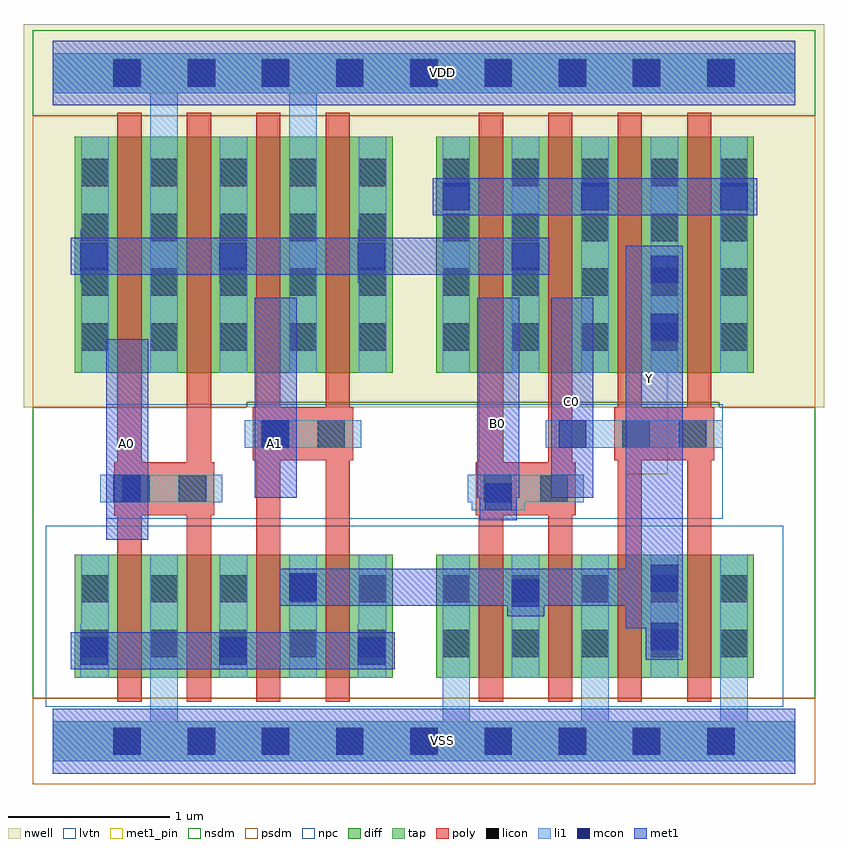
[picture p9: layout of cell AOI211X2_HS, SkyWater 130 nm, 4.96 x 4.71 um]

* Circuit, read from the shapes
.subckt AOI211X2_HS A0 A1 B0 C0 VDD VSS Y
XM1 VSS A0 n1 VSS sky130_fd_pr__nfet_01v8_lvt w=0.76 l=0.15 m=2
XM2 Y A1 n1 VSS sky130_fd_pr__nfet_01v8_lvt w=0.76 l=0.15 m=2
XM3 Y B0 VSS VSS sky130_fd_pr__nfet_01v8_lvt w=0.76 l=0.15 m=2
XM4 Y C0 VSS VSS sky130_fd_pr__nfet_01v8_lvt w=0.76 l=0.15 m=2
XM5 VDD A0 n2 VDD sky130_fd_pr__pfet_01v8 w=1.46 l=0.15 m=2
XM6 VDD A1 n2 VDD sky130_fd_pr__pfet_01v8 w=1.46 l=0.15 m=2
XM7 n2 B0 n3 VDD sky130_fd_pr__pfet_01v8 w=1.46 l=0.15 m=2
XM8 Y C0 n3 VDD sky130_fd_pr__pfet_01v8 w=1.46 l=0.15 m=2
.ends

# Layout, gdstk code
from math import pi, radians
import gdstk
lib = gdstk.Library(unit=1e-6, precision=1e-09)
def R(c, l, rs):  # rectangles x0, y0, x1, y1
    for r in rs: c.add(gdstk.rectangle(r[:2], r[2:], *l))
def A(c, l, x, y, w, h, nx, ny, dx, dy):  # array of equal rectangles
    R(c, l, [(x+i*dx, y+j*dy, x+i*dx+w, y+j*dy+h) for i in range(nx) for j in range(ny)])
def P(c, l, *ps):  # polygons
    for p in ps: c.add(gdstk.Polygon(p, *l))
nwell = (64, 20)
diff = (65, 20)
tap = (65, 44)
poly = (66, 20)
licon = (66, 44)
li1 = (67, 20)
mcon = (67, 44)
met1_pin = (68, 16)
met1 = (68, 20)
nsdm = (93, 44)
psdm = (94, 20)
npc = (95, 20)
lvtn = (125, 44)

pyl1con_c_cdns_750721774 = lib.new_cell('PYL1CON_C_CDNS_750721774073')
R(pyl1con_c_cdns_750721774, poly, [(-0.135,-0.165,0.135,0.165)])
R(pyl1con_c_cdns_750721774, licon, [(-0.085,-0.085,0.085,0.085)])
R(pyl1con_c_cdns_750721774, npc, [(-0.185,-0.185,0.185,0.185)])

l1m1_c_cdns_750721774074 = lib.new_cell('L1M1_C_CDNS_750721774074')
R(l1m1_c_cdns_750721774074, li1, [(-0.165,-0.085,0.165,0.085)])
R(l1m1_c_cdns_750721774074, mcon, [(-0.085,-0.085,0.085,0.085)])
R(l1m1_c_cdns_750721774074, met1, [(-0.115,-0.145,0.115,0.145)])

l1m1_c_cdns_750721774071 = lib.new_cell('L1M1_C_CDNS_7507217740715')
R(l1m1_c_cdns_750721774071, li1, [(-0.085,-0.085,0.085,0.085)])
R(l1m1_c_cdns_750721774071, mcon, [(-0.085,-0.085,0.085,0.085)])
R(l1m1_c_cdns_750721774071, met1, [(-0.115,-0.145,0.115,0.145)])

c_l1m1_c_cdns_750721774071 = lib.new_cell('L1M1_C_CDNS_7507217740713')
R(c_l1m1_c_cdns_750721774071, li1, [(-0.085,-0.165,0.085,0.165)])
R(c_l1m1_c_cdns_750721774071, mcon, [(-0.085,-0.085,0.085,0.085)])
R(c_l1m1_c_cdns_750721774071, met1, [(-0.145,-0.115,0.145,0.115)])

c_l1m1_c_cdns_750721774071_ = lib.new_cell('L1M1_C_CDNS_7507217740716')
R(c_l1m1_c_cdns_750721774071_, li1, [(-0.085,-0.265,0.085,0.265)])
R(c_l1m1_c_cdns_750721774071_, mcon, [(-0.085,-0.265,0.085,-0.095), (-0.085,0.095,0.085,0.265)])
R(c_l1m1_c_cdns_750721774071_, met1, [(-0.115,-0.325,0.115,0.325)])

aoi211x2_hs = lib.new_cell('AOI211X2_HS')
R(aoi211x2_hs, nwell, [(-0.18,2.07,4.78,4.445), (-0.045,2.105,1.385,3.925), (1.025,2.105,2.285,3.925), (2.195,2.105,3.625,3.925), (3.265,2.105,4.525,3.925), (-0.18,3.875,4.78,4.445)])
A(aoi211x2_hs, diff, 0.4, 0.395, 0.15, 0.76, 4, 1, 0.43, 0)
A(aoi211x2_hs, diff, 2.64, 0.395, 0.15, 0.76, 4, 1, 0.43, 0)
A(aoi211x2_hs, diff, 0.4, 2.285, 0.15, 1.46, 4, 1, 0.43, 0)
A(aoi211x2_hs, diff, 2.64, 2.285, 0.15, 1.46, 4, 1, 0.43, 0)
R(aoi211x2_hs, diff, [(0.135,0.395,0.4,1.155), (0.55,0.395,0.83,1.155), (0.98,0.395,1.205,1.155), (1.205,0.395,1.26,1.155), (1.41,0.395,1.69,1.155), (1.84,0.395,2.105,1.155), (2.375,0.395,2.64,1.155), (2.79,0.395,3.07,1.155), (3.22,0.395,3.445,1.155), (3.445,0.395,3.5,1.155), (3.65,0.395,3.93,1.155), (4.08,0.395,4.345,1.155), (0.135,2.285,0.4,3.745), (0.55,2.285,0.83,3.745), (0.98,2.285,1.205,3.745), (1.205,2.285,1.26,3.745), (1.41,2.285,1.69,3.745), (1.84,2.285,2.105,3.745), (2.375,2.285,2.64,3.745), (2.79,2.285,3.07,3.745), (3.22,2.285,3.445,3.745), (3.445,2.285,3.5,3.745), (3.65,2.285,3.93,3.745), (4.08,2.285,4.345,3.745)])
A(aoi211x2_hs, poly, 0.4, 0.245, 0.15, 0.055, 4, 2, 0.43, 1.005)
A(aoi211x2_hs, poly, 2.64, 0.245, 0.15, 0.055, 4, 2, 0.43, 1.005)
A(aoi211x2_hs, poly, 0.4, 0.3, 0.15, 0.095, 4, 2, 0.43, 0.855)
A(aoi211x2_hs, poly, 2.64, 0.3, 0.15, 0.095, 4, 2, 0.43, 0.855)
A(aoi211x2_hs, poly, 0.4, 0.395, 0.15, 0.76, 4, 1, 0.43, 0)
A(aoi211x2_hs, poly, 2.64, 0.395, 0.15, 0.76, 4, 1, 0.43, 0)
A(aoi211x2_hs, poly, 0.4, 2.135, 0.15, 0.055, 4, 2, 0.43, 1.705)
A(aoi211x2_hs, poly, 2.64, 2.135, 0.15, 0.055, 4, 2, 0.43, 1.705)
A(aoi211x2_hs, poly, 0.4, 2.19, 0.15, 0.095, 4, 2, 0.43, 1.555)
A(aoi211x2_hs, poly, 2.64, 2.19, 0.15, 0.095, 4, 2, 0.43, 1.555)
A(aoi211x2_hs, poly, 0.4, 2.285, 0.15, 1.46, 4, 1, 0.43, 0)
A(aoi211x2_hs, poly, 2.64, 2.285, 0.15, 1.46, 4, 1, 0.43, 0)
R(aoi211x2_hs, poly, [(0.38,1.4,1,1.73), (2.62,1.4,3.24,1.73), (1.24,1.74,1.86,2.07), (3.48,1.74,4.1,2.07)])
A(aoi211x2_hs, licon, 0.375, -0.085, 0.17, 0.17, 9, 2, 0.46, 4.14)
A(aoi211x2_hs, licon, 0.175, 0.52, 0.17, 0.17, 5, 2, 0.43, 0.34)
A(aoi211x2_hs, licon, 2.415, 0.52, 0.17, 0.17, 5, 2, 0.43, 0.34)
A(aoi211x2_hs, licon, 0.175, 2.42, 0.17, 0.17, 5, 4, 0.43, 0.34)
A(aoi211x2_hs, licon, 2.415, 2.42, 0.17, 0.17, 5, 4, 0.43, 0.34)
A(aoi211x2_hs, li1, 0.175, 0.395, 0.17, 0.76, 5, 1, 0.43, 0)
A(aoi211x2_hs, li1, 2.415, 0.395, 0.17, 0.76, 5, 1, 0.43, 0)
A(aoi211x2_hs, li1, 0.175, 2.285, 0.17, 1.46, 5, 1, 0.43, 0)
A(aoi211x2_hs, li1, 2.415, 2.285, 0.17, 1.46, 5, 1, 0.43, 0)
A(aoi211x2_hs, mcon, 0.375, -0.085, 0.17, 0.17, 9, 2, 0.46, 4.14)
R(aoi211x2_hs, met1_pin, [(0.33,1.25,0.59,2.49), (1.25,1.51,1.51,2.75), (2.63,1.51,2.89,2.75), (3.09,1.51,3.35,2.75), (3.55,1.655,3.81,3.07)])
R(aoi211x2_hs, met1, [(3.55,0.7,3.905,3.07)])
R(aoi211x2_hs, nsdm, [(-0.005,0.265,1.215,1.285), (1.195,0.265,2.245,1.285), (2.235,0.265,3.455,1.285), (3.435,0.265,4.485,1.285), (-0.125,3.875,4.725,4.405), (-0.125,3.93,4.725,4.35)])
P(aoi211x2_hs, nsdm, [(4.725,2.07),(4.13,2.07),(4.13,2.1),(1.2,2.1),(1.2,2.07),(-0.125,2.07),(-0.125,0.265),(4.725,0.265)])
R(aoi211x2_hs, psdm, [(-0.125,-0.265,4.725,0.265), (-0.125,-0.21,4.725,0.21), (-0.005,2.155,1.215,3.875), (1.195,2.155,2.245,3.875), (2.235,2.155,3.455,3.875), (3.435,2.155,4.485,3.875)])
P(aoi211x2_hs, psdm, [(4.725,3.875),(-0.125,3.875),(-0.125,2.07),(1.2,2.07),(1.2,2.1),(4.13,2.1),(4.13,2.07),(4.725,2.07)])
R(aoi211x2_hs, npc, [(0.33,1.38,4.15,2.09)])
R(aoi211x2_hs, lvtn, [(-0.045,0.215,1.385,1.335), (1.025,0.215,2.285,1.335), (2.195,0.215,3.625,1.335), (3.265,0.215,4.525,1.335)])
aoi211x2_hs.add(gdstk.FlexPath([(3.145,1.305),(3.145,1.73)], 0.15, ends="flush", simple_path=True, layer=66, datatype=20))  # poly
aoi211x2_hs.add(gdstk.FlexPath([(1.765,1.305),(1.765,1.74)], 0.15, ends="flush", simple_path=True, layer=66, datatype=20))  # poly
aoi211x2_hs.add(gdstk.FlexPath([(0.905,1.565),(1,1.565)], 0.15, ends=(0.075, 0), simple_path=True, layer=66, datatype=20))  # poly
aoi211x2_hs.add(gdstk.FlexPath([(0.905,1.305),(0.905,1.565)], 0.15, ends=(0, 0.075), simple_path=True, layer=66, datatype=20))  # poly
aoi211x2_hs.add(gdstk.FlexPath([(0.475,1.475),(0.38,1.475)], 0.15, ends=(0.075, 0), simple_path=True, layer=66, datatype=20))  # poly
aoi211x2_hs.add(gdstk.FlexPath([(2.715,2.325),(2.715,1.305)], 0.15, ends="flush", simple_path=True, layer=66, datatype=20))  # poly
aoi211x2_hs.add(gdstk.FlexPath([(3.575,2.325),(3.575,1.305)], 0.15, ends="flush", simple_path=True, layer=66, datatype=20))  # poly
aoi211x2_hs.add(gdstk.FlexPath([(3.145,2.325),(3.145,1.445)], 0.15, ends="flush", simple_path=True, layer=66, datatype=20))  # poly
aoi211x2_hs.add(gdstk.FlexPath([(4.005,2.325),(4.005,1.305)], 0.15, ends="flush", simple_path=True, layer=66, datatype=20))  # poly
aoi211x2_hs.add(gdstk.FlexPath([(1.765,2.325),(1.765,1.445)], 0.15, ends="flush", simple_path=True, layer=66, datatype=20))  # poly
aoi211x2_hs.add(gdstk.FlexPath([(1.335,2.325),(1.335,1.305)], 0.15, ends="flush", simple_path=True, layer=66, datatype=20))  # poly
aoi211x2_hs.add(gdstk.FlexPath([(0.905,2.325),(0.905,1.565)], 0.15, ends=(0, 0.075), simple_path=True, layer=66, datatype=20))  # poly
aoi211x2_hs.add(gdstk.FlexPath([(0.475,2.325),(0.475,1.475)], 0.15, ends=(0, 0.075), simple_path=True, layer=66, datatype=20))  # poly
aoi211x2_hs.add(gdstk.FlexPath([(0.475,1.305),(0.475,1.475)], 0.15, ends=(0, 0.075), simple_path=True, layer=66, datatype=20))  # poly
aoi211x2_hs.add(gdstk.FlexPath([(4.22,0.59),(4.22,0)], 0.17, ends="flush", simple_path=True, layer=67, datatype=20))  # li1
aoi211x2_hs.add(gdstk.FlexPath([(3.36,0),(3.42,0)], 0.17, ends=(0.085, 0), simple_path=True, layer=67, datatype=20))  # li1
aoi211x2_hs.add(gdstk.FlexPath([(3.36,0.59),(3.36,0)], 0.17, ends=(0, 0.085), simple_path=True, layer=67, datatype=20))  # li1
aoi211x2_hs.add(gdstk.FlexPath([(2.5,0),(2.47,0)], 0.17, ends=(0.085, 0), simple_path=True, layer=67, datatype=20))  # li1
aoi211x2_hs.add(gdstk.FlexPath([(2.5,0.59),(2.5,0)], 0.17, ends=(0, 0.085), simple_path=True, layer=67, datatype=20))  # li1
aoi211x2_hs.add(gdstk.FlexPath([(0.69,0.59),(0.69,0)], 0.17, ends=(0, 0.125), simple_path=True, layer=67, datatype=20))  # li1
aoi211x2_hs.add(gdstk.FlexPath([(1.55,3.55),(1.55,4.14)], 0.17, ends="flush", simple_path=True, layer=67, datatype=20))  # li1
aoi211x2_hs.add(gdstk.FlexPath([(4.22,3.375),(4.22,3.295)], 0.17, ends=(0, 0.085), simple_path=True, layer=67, datatype=20))  # li1
aoi211x2_hs.add(gdstk.FlexPath([(4.22,3.295),(4.135,3.295)], 0.17, ends=(0.085, 0), simple_path=True, layer=67, datatype=20))  # li1
aoi211x2_hs.add(gdstk.FlexPath([(0.33,1.565),(1.05,1.565)], 0.17, ends="flush", simple_path=True, layer=67, datatype=20))  # li1
aoi211x2_hs.add(gdstk.FlexPath([(0.69,3.55),(0.69,4.14)], 0.17, ends=(0, 0.125), simple_path=True, layer=67, datatype=20))  # li1
aoi211x2_hs.add(gdstk.FlexPath([(2.47,4.14),(3.42,4.14)], 0.25, ends=(0.085, 0.085), simple_path=True, layer=67, datatype=20))  # li1
aoi211x2_hs.add(gdstk.FlexPath([(3.195,1.905),(4.15,1.905)], 0.17, ends="flush", simple_path=True, layer=67, datatype=20))  # li1
aoi211x2_hs.add(gdstk.FlexPath([(2.57,1.565),(3.29,1.565)], 0.17, ends="flush", simple_path=True, layer=67, datatype=20))  # li1
aoi211x2_hs.add(gdstk.FlexPath([(0,0),(0.69,0)], 0.25, ends=(0, 0.085), simple_path=True, layer=67, datatype=20))  # li1
aoi211x2_hs.add(gdstk.FlexPath([(3.42,0),(4.34,0)], 0.25, ends=(0.085, 0.085), simple_path=True, layer=67, datatype=20))  # li1
aoi211x2_hs.add(gdstk.FlexPath([(4.34,4.14),(4.6,4.14)], 0.25, ends=(0.085, 0), simple_path=True, layer=67, datatype=20))  # li1
aoi211x2_hs.add(gdstk.FlexPath([(0,4.14),(0.69,4.14)], 0.25, ends=(0, 0.085), simple_path=True, layer=67, datatype=20))  # li1
aoi211x2_hs.add(gdstk.FlexPath([(0.69,4.14),(2.47,4.14)], 0.25, ends=(0.085, 0.085), simple_path=True, layer=67, datatype=20))  # li1
aoi211x2_hs.add(gdstk.FlexPath([(3.42,4.14),(4.34,4.14)], 0.25, ends=(0.085, 0.085), simple_path=True, layer=67, datatype=20))  # li1
aoi211x2_hs.add(gdstk.FlexPath([(1.19,1.905),(1.91,1.905)], 0.17, ends="flush", simple_path=True, layer=67, datatype=20))  # li1
aoi211x2_hs.add(gdstk.FlexPath([(0.69,0),(2.47,0)], 0.25, ends=(0.085, 0.085), simple_path=True, layer=67, datatype=20))  # li1
aoi211x2_hs.add(gdstk.FlexPath([(4.34,0),(4.6,0)], 0.25, ends=(0.085, 0), simple_path=True, layer=67, datatype=20))  # li1
aoi211x2_hs.add(gdstk.FlexPath([(2.47,0),(3.42,0)], 0.25, ends=(0.085, 0.085), simple_path=True, layer=67, datatype=20))  # li1
aoi211x2_hs.add(gdstk.FlexPath([(0,0),(4.6,0)], 0.4, ends="flush", simple_path=True, layer=68, datatype=16))  # met1_pin
aoi211x2_hs.add(gdstk.FlexPath([(0,4.14),(4.6,4.14)], 0.4, ends="flush", simple_path=True, layer=68, datatype=16))  # met1_pin
aoi211x2_hs.add(gdstk.FlexPath([(0.255,3.005),(2.925,3.005)], 0.23, ends="flush", simple_path=True, layer=68, datatype=20))  # met1
aoi211x2_hs.add(gdstk.FlexPath([(0.255,0.56),(1.975,0.56)], 0.23, ends="flush", simple_path=True, layer=68, datatype=20))  # met1
aoi211x2_hs.add(gdstk.FlexPath([(2.5,3.375),(4.22,3.375)], 0.23, ends="flush", simple_path=True, layer=68, datatype=20))  # met1
aoi211x2_hs.add(gdstk.FlexPath([(0.46,1.25),(0.46,2.49)], 0.26, ends="flush", simple_path=True, layer=68, datatype=20))  # met1
aoi211x2_hs.add(gdstk.FlexPath([(3.905,0.955),(1.55,0.955)], 0.23, ends="flush", simple_path=True, layer=68, datatype=20))  # met1
aoi211x2_hs.add(gdstk.FlexPath([(1.38,1.51),(1.38,2.75)], 0.26, ends="flush", simple_path=True, layer=68, datatype=20))  # met1
aoi211x2_hs.add(gdstk.FlexPath([(3.22,1.51),(3.22,2.75)], 0.26, ends="flush", simple_path=True, layer=68, datatype=20))  # met1
aoi211x2_hs.add(gdstk.FlexPath([(0,4.14),(4.6,4.14)], 0.4, ends="flush", simple_path=True, layer=68, datatype=20))  # met1
aoi211x2_hs.add(gdstk.FlexPath([(3.68,1.01),(3.68,3.07)], 0.26, ends="flush", simple_path=True, layer=68, datatype=20))  # met1
aoi211x2_hs.add(gdstk.FlexPath([(2.76,1.51),(2.76,2.75)], 0.26, ends="flush", simple_path=True, layer=68, datatype=20))  # met1
aoi211x2_hs.add(gdstk.FlexPath([(0,0),(4.6,0)], 0.4, ends="flush", simple_path=True, layer=68, datatype=20))  # met1
aoi211x2_hs.add(gdstk.FlexPath([(0,4.14),(4.6,4.14)], 0.25, ends="flush", simple_path=True, layer=65, datatype=44))  # tap
aoi211x2_hs.add(gdstk.FlexPath([(0,0),(4.6,0)], 0.25, ends="flush", simple_path=True, layer=65, datatype=44))  # tap
aoi211x2_hs.add(gdstk.Reference(pyl1con_c_cdns_750721774, (0.515,1.565), rotation=pi, x_reflection=True))
aoi211x2_hs.add(gdstk.Reference(pyl1con_c_cdns_750721774, (0.865,1.565), rotation=pi, x_reflection=True))
aoi211x2_hs.add(gdstk.Reference(pyl1con_c_cdns_750721774, (1.375,1.905), rotation=pi, x_reflection=True))
aoi211x2_hs.add(gdstk.Reference(pyl1con_c_cdns_750721774, (1.725,1.905), rotation=pi, x_reflection=True))
aoi211x2_hs.add(gdstk.Reference(pyl1con_c_cdns_750721774, (3.965,1.905), rotation=pi, x_reflection=True))
aoi211x2_hs.add(gdstk.Reference(pyl1con_c_cdns_750721774, (3.615,1.905), rotation=pi, x_reflection=True))
aoi211x2_hs.add(gdstk.Reference(pyl1con_c_cdns_750721774, (3.105,1.565), rotation=pi, x_reflection=True))
aoi211x2_hs.add(gdstk.Reference(pyl1con_c_cdns_750721774, (2.755,1.565), rotation=pi, x_reflection=True))
aoi211x2_hs.add(gdstk.Reference(l1m1_c_cdns_750721774074, (0.46,1.565), x_reflection=True))
aoi211x2_hs.add(gdstk.Reference(l1m1_c_cdns_750721774074, (3.22,1.905), x_reflection=True))
aoi211x2_hs.add(gdstk.Reference(l1m1_c_cdns_750721774074, (2.76,1.515), x_reflection=True))
aoi211x2_hs.add(gdstk.Reference(l1m1_c_cdns_750721774074, (1.38,1.905), x_reflection=True))
aoi211x2_hs.add(gdstk.Reference(l1m1_c_cdns_750721774071, (2.93,0.92)))
aoi211x2_hs.add(gdstk.Reference(c_l1m1_c_cdns_750721774071, (1.55,0.955)))
aoi211x2_hs.add(gdstk.Reference(c_l1m1_c_cdns_750721774071, (2.5,3.375)))
aoi211x2_hs.add(gdstk.Reference(c_l1m1_c_cdns_750721774071, (4.22,3.375)))
aoi211x2_hs.add(gdstk.Reference(c_l1m1_c_cdns_750721774071, (0.255,0.56)))
aoi211x2_hs.add(gdstk.Reference(c_l1m1_c_cdns_750721774071, (1.115,0.56)))
aoi211x2_hs.add(gdstk.Reference(c_l1m1_c_cdns_750721774071, (1.975,0.56)))
aoi211x2_hs.add(gdstk.Reference(c_l1m1_c_cdns_750721774071, (0.255,3.005)))
aoi211x2_hs.add(gdstk.Reference(c_l1m1_c_cdns_750721774071, (2.93,3.005)))
aoi211x2_hs.add(gdstk.Reference(c_l1m1_c_cdns_750721774071, (1.115,3.005)))
aoi211x2_hs.add(gdstk.Reference(c_l1m1_c_cdns_750721774071, (3.36,3.375)))
aoi211x2_hs.add(gdstk.Reference(c_l1m1_c_cdns_750721774071, (1.975,3.005)))
aoi211x2_hs.add(gdstk.Reference(c_l1m1_c_cdns_750721774071_, (3.79,0.83)))
aoi211x2_hs.add(gdstk.Reference(c_l1m1_c_cdns_750721774071_, (3.79,2.745)))
aoi211x2_hs.add(gdstk.Label('A0', (0.455,1.845), layer=68, texttype=5))
aoi211x2_hs.add(gdstk.Label('Y', (3.695,2.25), layer=68, texttype=5))
aoi211x2_hs.add(gdstk.Label('B0', (2.755,1.97), layer=68, texttype=5))
aoi211x2_hs.add(gdstk.Label('A1', (1.375,1.845), layer=68, texttype=5))
aoi211x2_hs.add(gdstk.Label('C0', (3.215,2.105), layer=68, texttype=5))
aoi211x2_hs.add(gdstk.Label('VDD', (2.415,4.145), layer=68, texttype=5))
aoi211x2_hs.add(gdstk.Label('VSS', (2.415,0.005), layer=68, texttype=5))

lib.write_gds('AOI211X2_HS.gds')
